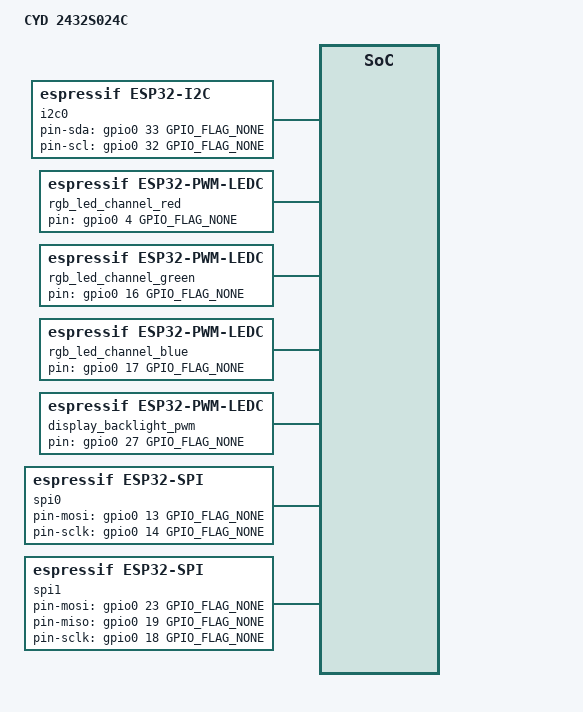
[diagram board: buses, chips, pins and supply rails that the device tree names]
/dts-v1/;

#include <tactility/bindings/root.h>
#include <tactility/bindings/esp32_wifi_pinned.h>
#include <tactility/bindings/esp32_gpio.h>
#include <tactility/bindings/esp32_i2c.h>
#include <tactility/bindings/esp32_spi.h>
#include <tactility/bindings/esp32_sdspi.h>
#include <tactility/bindings/esp32_pwm_ledc.h>
#include <tactility/bindings/pwm_backlight.h>
#include <tactility/bindings/rgb_led_pwm.h>
#include <bindings/ili9341.h>
#include <bindings/cst816s.h>

/ {
	compatible = "root";
	model = "CYD 2432S024C";

	wifi0 {
		compatible = "espressif,esp32-wifi-pinned";
		status = "disabled";
	};

	gpio0 {
		compatible = "espressif,esp32-gpio";
		gpio-count = <40>;
	};

	i2c0 {
		compatible = "espressif,esp32-i2c";
		port = <I2C_NUM_0>;
		clock-frequency = <400000>;
		pin-sda = <&gpio0 33 GPIO_FLAG_NONE>;
		pin-scl = <&gpio0 32 GPIO_FLAG_NONE>;

		touch {
			compatible = "hynitron,cst816s";
			reg = <0x15>;
			x-max = <240>;
			y-max = <320>;
		};
	};

	rgb_led_channel_red {
		compatible = "espressif,esp32-pwm-ledc";
		pin = <&gpio0 4 GPIO_FLAG_NONE>;
		period-ns = <500000>;
		ledc-timer = <0>;
		ledc-channel = <0>;
		inverted;
	};

	rgb_led_channel_green {
		compatible = "espressif,esp32-pwm-ledc";
		pin = <&gpio0 16 GPIO_FLAG_NONE>;
		period-ns = <500000>;
		ledc-timer = <0>;
		ledc-channel = <1>;
		inverted;
	};

	rgb_led_channel_blue {
		compatible = "espressif,esp32-pwm-ledc";
		pin = <&gpio0 17 GPIO_FLAG_NONE>;
		period-ns = <500000>;
		ledc-timer = <0>;
		ledc-channel = <2>;
		inverted;
	};

	rgb_led_pwm {
		compatible = "rgb-led-pwm";
		pwm-red = <&rgb_led_channel_red>;
		pwm-green = <&rgb_led_channel_green>;
		pwm-blue = <&rgb_led_channel_blue>;
		// Default is red, and we want to reset it to off by default
		default-color = <0 0 0>;
		enabled;
	};

	display_backlight_pwm {
		compatible = "espressif,esp32-pwm-ledc";
		pin = <&gpio0 27 GPIO_FLAG_NONE>;
		period-ns = <1953125>;
		ledc-timer = <1>;
		ledc-channel = <3>;
	};

	display_backlight {
		compatible = "pwm-backlight";
		// Off by default so display power-on won't show the screen from before the last power loss.
		// The display backlight is turned on during the boot process.
		status = "disabled";
		pwm = <&display_backlight_pwm>;
	};

	spi0 {
		compatible = "espressif,esp32-spi";
		host = <SPI2_HOST>;
		cs-gpios = <&gpio0 15 GPIO_FLAG_NONE>;
		pin-mosi = <&gpio0 13 GPIO_FLAG_NONE>;
		pin-sclk = <&gpio0 14 GPIO_FLAG_NONE>;

		display@0 {
			compatible = "ilitek,ili9341";
			horizontal-resolution = <240>;
			vertical-resolution = <320>;
			mirror-x;
			bgr-order;
			pixel-clock-hz = <40000000>;
			pin-dc = <&gpio0 2 GPIO_FLAG_NONE>;
			backlight = <&display_backlight>;
		};
	};

	spi1 {
		compatible = "espressif,esp32-spi";
		host = <SPI3_HOST>;
		cs-gpios = <&gpio0 5 GPIO_FLAG_NONE>;
		pin-mosi = <&gpio0 23 GPIO_FLAG_NONE>;
		pin-miso = <&gpio0 19 GPIO_FLAG_NONE>;
		pin-sclk = <&gpio0 18 GPIO_FLAG_NONE>;
		miso-pull-up;

		sdcard@0 {
			compatible = "espressif,esp32-sdspi";
			frequency-khz = <20000>;
		};
	};
};
